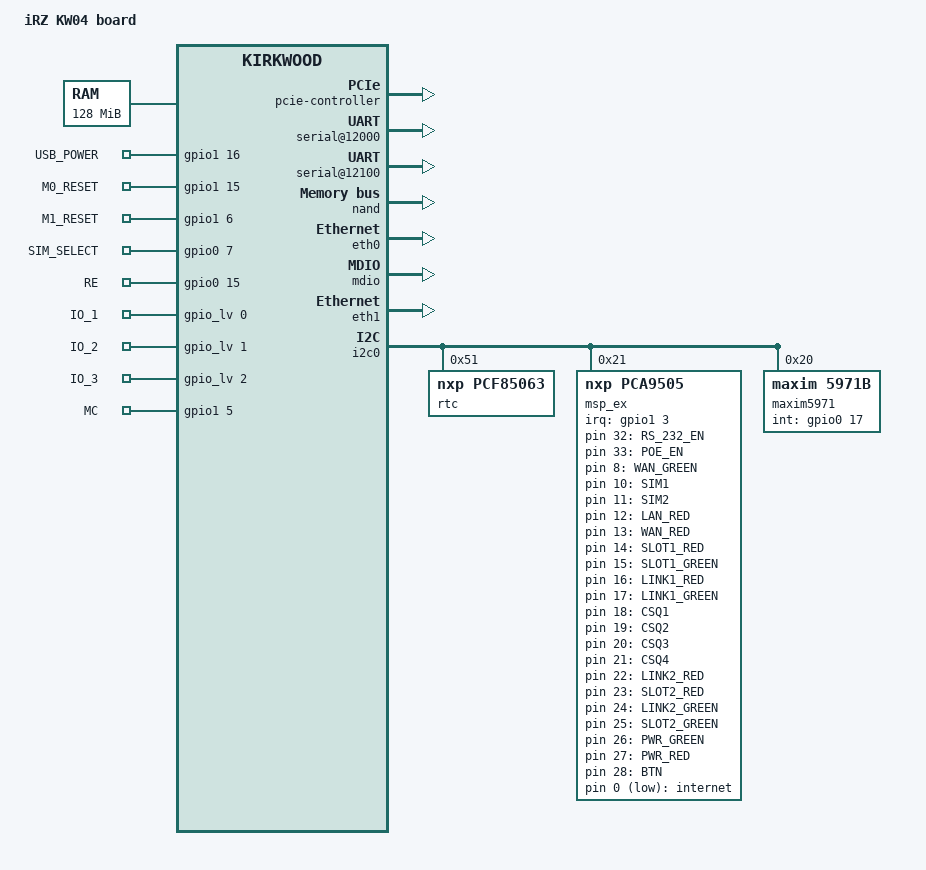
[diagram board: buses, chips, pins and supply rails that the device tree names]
/dts-v1/;

#include "kirkwood.dtsi"
#include "kirkwood-6281.dtsi"

/ {
	model = "iRZ KW04 board";
	compatible = "irz,kw04", "marvell,kirkwood-88f6281", "marvell,kirkwood";

	memory {
		device_type = "memory";
		reg = <0x00000000 0x8000000>;
	};

	chosen {
		bootargs = "";
	};

	mbus {
		pcie-controller {
			status = "okay";

			pcie@1,0 {
				status = "okay";
			};
		};
	};

	ocp@f1000000 {
		pinctrl: pin-controller@10000 {
			pmx_usb_power: pmx-usb-power {
				marvell,pins = "mpp48";
				marvell,function = "gpio";
			};
			pmx_rede: pmx-rede {
				marvell,pins = "mpp15";
				marvell,function = "gpio";
			};
			pmx_m0_reset: pmx-gpio11 {
				marvell,pins = "mpp47";
				marvell,function = "gpio";
			};
			pmx_m1_reset: pmx-gpio12 {
				marvell,pins = "mpp38";
				marvell,function = "gpio";
			};
			 pmx_gpio_dir_io_3: pmx-dir-io3 {
				marvell,pins = "mpp46";
				marvell,function = "gpio";
			};
			pmx_gpio_dir_io_0: pmx-dir-io0 {
				marvell,pins = "mpp44";
				marvell,function = "gpio";
			};
			pmx_gpio_dir_io_4: pmx-dir-io4 {
				marvell,pins = "mpp43";
				marvell,function = "gpio";
			};
			pmx_gpio_io_d: pmx-io-d {
				marvell,pins = "mpp42";
				marvell,function = "gpio";
			};
			pmx_gpio_io_c: pmx-io-c {
				marvell,pins = "mpp41";
				marvell,function = "gpio";
			};
			pmx_gpio_io_b: pmx-io-b {
				marvell,pins = "mpp40";
				marvell,function = "gpio";
			};
			pmx_gpio_cpu4: pmx-cpu4 {
				marvell,pins = "mpp39";
				marvell,function = "gpio";
			};
			
			pmx_gpio_cpu3: pmx-cpu3 {
				marvell,pins = "mpp37";
				marvell,function = "gpio";
			};
			pmx_gpio_cpu2: pmx-cpu2 {
				marvell,pins = "mpp36";
				marvell,function = "gpio";
			};
			pmx_gpio_cpu1: pmx-cpu1 {
				marvell,pins = "mpp35";
				marvell,function = "gpio";
			};
			pmx_gpio_1: pmx-gpio1 {
				marvell,pins = "mpp17";
				marvell,function = "gpio";
			};
			pmx_re_de: pmx-re-de {
				marvell,pins = "mpp15";
				marvell,function = "gpio";
			};
			pmx_swrst: pmx-swrst {
				marvell,pins = "mpp16";
				marvell,function = "gpio";
			};
			pmx_mpp12: pmx-mpp12 {
				marvell,pins = "mpp12";
				marvell,function = "gpio";
			};
			pmx_sim_select: pmx-sim-select {
				marvell,pins = "mpp7";
				marvell,function = "gpo";
			};
			pmx_mii_coll: pmx-mii-coll {
				marvell,pins = "mpp28";
				marvell,function = "gpio";
			};
			pmx_gpio_phy_int: pmx-phy-int {
				marvell,pins = "mpp45";
				marvell,function = "gpio";
			};
		};
		serial@12000 {
			status = "okay";
		};
		serial@12100 {
			status = "okay";
		};
		spi@10600 {
			status = "disabled";
		};
		rtc@10300 {
			status = "disabled";
		};
		wdt@20300 {
			status = "enabled";
		};
	};

	gpio_lv: gpio-lv@0{
		pinctrl-0 = < &pmx_gpio_io_b &pmx_gpio_io_c &pmx_gpio_io_d 
						&pmx_gpio_dir_io_0 &pmx_gpio_dir_io_3
						&pmx_gpio_dir_io_4 >;
		pinctrl-names = "default";
		compatible = "gpio-lv";
		#gpio-cells = <2>;
		gpio-controller;
		io1 {
			input_pin       = <&gpio1 8 0x0>;
			direction_pin   = <&gpio1 12 0x0>;
		};
		io2 {
			input_pin       = <&gpio1 9 0x0>;
			direction_pin   = <&gpio1 14 0x0>;
		};
		io3 {
			input_pin       = <&gpio1 10 0x0>;
			direction_pin   = <&gpio1 11 0x0>;
		};
	};

	gpio {
		compatible = "gpio-export";
		pinctrl-0 = < &pmx_usb_power &pmx_m0_reset &pmx_m1_reset
						&pmx_sim_select &pmx_rede &pmx_gpio_cpu3 >;
		pinctrl-names = "default";
		USB_POWER {
			gpios = <&gpio1 16 0>;
			gpio-export,name  = "USB_POWER";
			gpio-export,output = <1>;
		};
		M0_RESET {
			gpios = <&gpio1 15 0>;
			gpio-export,name  = "M0_RESET";
			gpio-export,output = <0>;
		};
		M1_RESET {
			gpios = <&gpio1 6 0>;
			gpio-export,name  = "M1_RESET";
			gpio-export,output = <1>;
		};
		SIM_SELECT {
			gpios = <&gpio0 7 0>;
			gpio-export,name  = "SIM_SELECT";
			gpio-export,output = <1>;
		};
		RE_DE {
			gpios = <&gpio0 15 0>;
			gpio-export,name  = "RE";
			gpio-export,direction_may_change;
		};

		IO_1 {
			gpios = <&gpio_lv 0 0>;
			gpio-export,name = "IO_1";
			gpio-export,direction_may_change;
		};
		IO_2 {
			gpios = <&gpio_lv 1 0>;
			gpio-export,name = "IO_2";
			gpio-export,direction_may_change;
		};
		IO_3 {
			gpios = <&gpio_lv 2 0>;
			gpio-export,name = "IO_3";
			gpio-export,direction_may_change;
		};
		RS_232_EN {
			gpios = <&msp_ex 32 0>;
			gpio-export,name = "RS_232_EN";
			gpio-export,output=<0>;
		};
		POE_EN {
			gpios = <&msp_ex 33 0>;
			gpio-export,name = "POE_EN";
			gpio-export,output=<1>;
		};
		MC{
			gpios = <&gpio1 5 0>;
			gpio-export,output=<1>;
		};
	};

	gpio-leds {
	compatible = "gpio-leds";
	LED100{
		gpios = <&msp_ex 8 0>;
		label = "WAN_GREEN";
	};
	SIM1{
		gpios = <&msp_ex 10 0>;
		label = "SIM1";
	};
	SIM2{
		gpios = <&msp_ex 11 0>;
		label = "SIM2";
	};
	X1{
		gpios = <&msp_ex 12 0>;
		label = "LAN_RED";
	};
	X11{
		gpios = <&msp_ex 13 0>;
		label = "WAN_RED";
	};
	X2{
		gpios = <&msp_ex 14 0>;
		label = "SLOT1_RED";
	};
	X21{
		gpios = <&msp_ex 15 0>;
		label = "SLOT1_GREEN";
	};
	X3 {
		gpios = <&msp_ex 16 0>;
		label = "LINK1_RED";
	};
	X31{
		gpios = <&msp_ex 17 0>;
		label = "LINK1_GREEN";
	};
	CSQ1{
		gpios = <&msp_ex 18 0>;
		label = "CSQ1";
	};
	CSQ2{
		gpios = <&msp_ex 19 0>;
		label = "CSQ2";
	};
	CSQ3{
		gpios = <&msp_ex 20 0>;
		label = "CSQ3";
	};
	CSQ4{
		gpios = <&msp_ex 21 0>;
		label = "CSQ4";
	};
	LED_3G{
		gpios = <&msp_ex 22 0>;
		label = "LINK2_RED";
	};
	PPP{
		gpios = <&msp_ex 23 0>;
		label = "SLOT2_RED";
	};
	LED_3G_1{
		gpios = <&msp_ex 24 0>;
		label = "LINK2_GREEN";
	};
	PPP_1{
		gpios = <&msp_ex 25 0>;
		label = "SLOT2_GREEN";
	};
	PWR {
		gpios = <&msp_ex 26 0>;
		label = "PWR_GREEN";
		linux,default-trigger="timer";
	};
	PWR_1{
		gpios = <&msp_ex 27 0>;
		label = "PWR_RED";
	};
	LED_P{
		gpios = <&msp_ex 28 0>;
		label = "BTN";
	};
};

	switch@0 {
		compatible = "marvell,88e6172";
		mii-bus = <&mdio>;
		cpu-port-0 = <5>;
		cpu-port-1 = <6>;
/*		interrupt = <&gpio1 13 0>;*/
		status="okay";
	};

	gpio-keys {
		compatible = "gpio-keys";
		#address-cells = <1>;
		#size-cells = <0>;
		autorepeat;
		INTERNET {
			label = "internet";
			linux,code = <0xF6>;
			gpios = <&msp_ex 0 1>;
		};
		Reset {
			label = "reset";
			linux,code = <0x198>;
			gpios = <&msp_ex 1 1>;
		};
		sfp_connect {
			label = "sfp_connect";
			linux,code = <0x100>;
			gpios = <&msp_ex 2 1>;
		};
	};

	gpio-keys-polled {
		compatible = "gpio-keys-polled";
		#address-cells = <1>;
		#size-cells = <0>;
		poll-interval = <500>;
		autorepeat;
		INTERNET {
			label = "internet";
			linux,code = <0xF6>;
			gpios = <&msp_ex 0 1>;
		};
		Reset {
			label = "reset";
			linux,code = <0x198>;
			gpios = <&msp_ex 1 1>;
		};
		
		SFP_CONNECT {
			label = "SFP_CONNECT";
			linux,code = <0x100>;
			gpios = <&msp_ex 2 1>;
		};
	};
};

&nand {
	status = "okay";
};

&eth0 {
	status = "okay";
	ethernet0-port@0 {
		speed = <1000>;
		duplex = <1>;
	};
};

&mdio {
	status="okay";
};

&eth1 {
	status = "okay";
	ethernet1-port@0 {
		speed = <1000>;
		duplex = <1>;
	};
};

&i2c0 {
	status = "okay";

//	clock-frequency = <50000>;

	rtc@51 {
		compatible = "nxp,pcf85063";
		reg = <0x51>;
	};

	msp_ex: gpio@21 {
		compatible = "nxp,pca9505";
		pinctrl-0 = < &pmx_gpio_cpu2 >;
		pinctrl-names = "default";
		reg = <0x21>;
		#gpio-cells = <2>;
		gpio-controller;
		ngpios = <40>;
		interrupt-parent = <&gpio1>;
		interrupts = < 3 4 >;
	};

	maxim5971@20 {
		pinctrl-0 = < &pmx_gpio_1 >;
		pinctrl-names = "default";
		compatible = "maxim,5971b";
		reg = <0x20>;
		int = <&gpio0 17 0x0>;
	};
};

&sata_phy0{
	status="disabled";
};

&sata_phy1{
	status="disabled";
};

